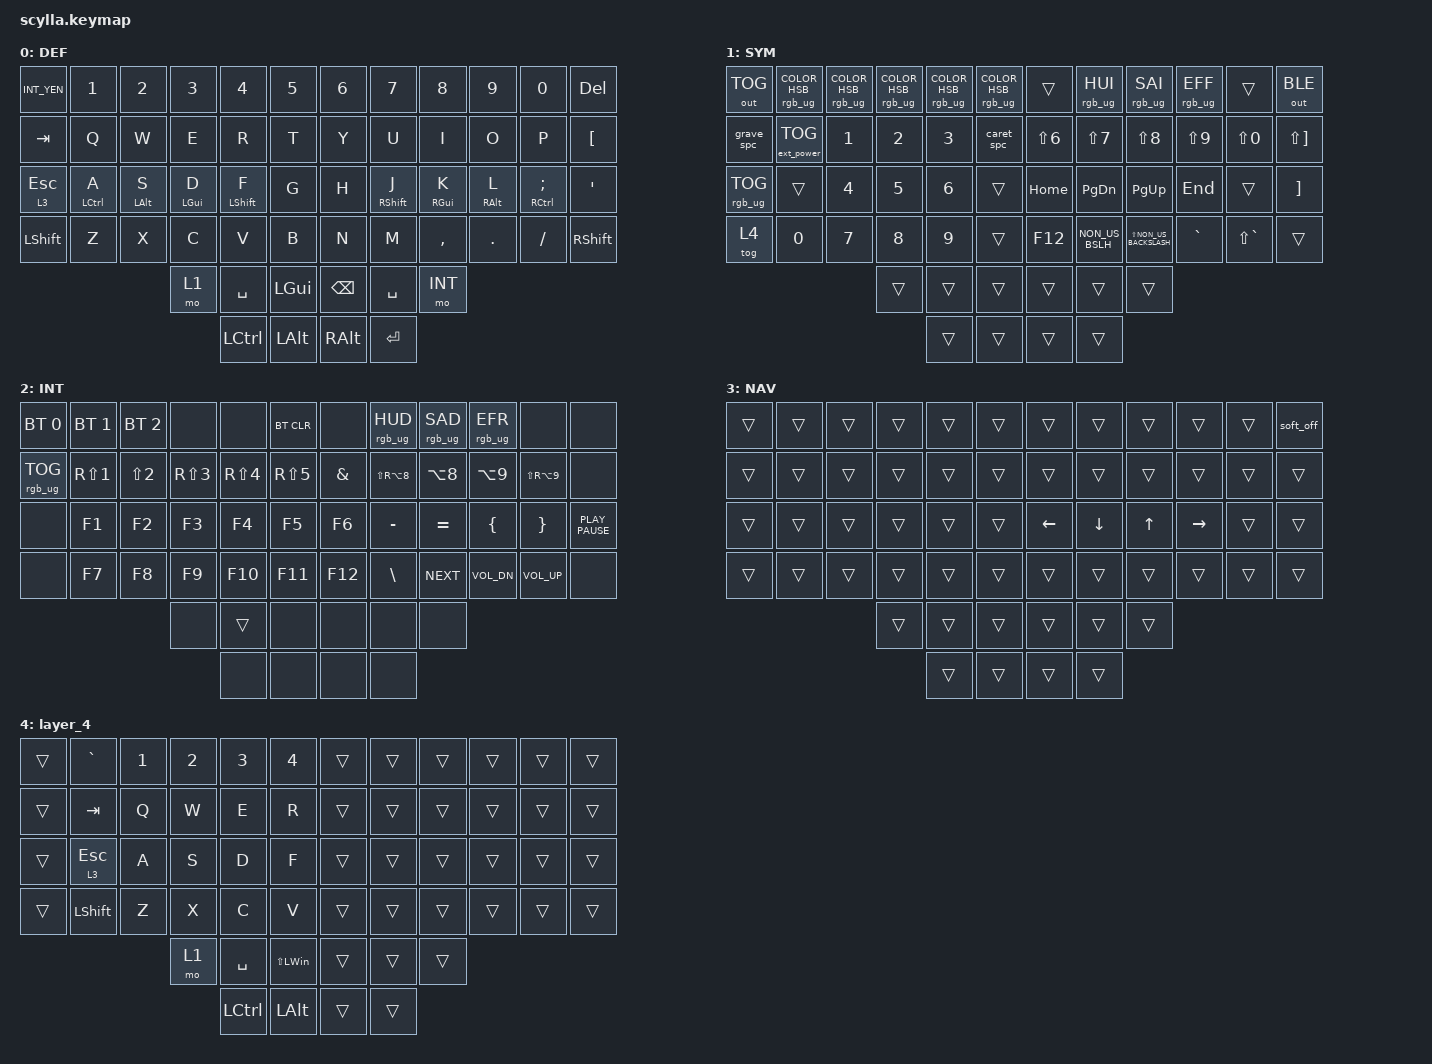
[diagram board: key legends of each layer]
#include <behaviors.dtsi>
#include <dt-bindings/zmk/bt.h>
#include <dt-bindings/zmk/ext_power.h>
#include <dt-bindings/zmk/keys.h>
#include <dt-bindings/zmk/outputs.h>
#include <dt-bindings/zmk/rgb.h>

#define DEF 0
#define SYM 1
#define INT 2

&led_strip {
    chain-length = <29>;

    // chain-length = <35>; // Uncomment if using both per-key and underglow LEDs
    // chain-length = <29>; // Uncomment if using only per-key LEDs.
};

&mt {
    tapping-term-ms = <350>;
    flavor = "tap-preferred";
    require-prior-idle-ms = <100>;
    hold-trigger-on-release;
};

/ {
    macros {
        sqt_spc: sqt_spc {
            label = "ZM_sqt_spc";
            compatible = "zmk,behavior-macro";
            #binding-cells = <0>;
            tap-ms = <30>;
            bindings = <&kp SQT &kp SPACE>;
        };

        grave_spc: grave_spc {
            label = "ZM_grave_spc";
            compatible = "zmk,behavior-macro";
            #binding-cells = <0>;
            tap-ms = <30>;
            bindings = <&kp GRAVE &kp SPACE>;
        };

        tilde_spc: tilde_spc {
            label = "ZM_tilde_spc";
            compatible = "zmk,behavior-macro";
            #binding-cells = <0>;
            tap-ms = <30>;
            bindings = <&kp TILDE &kp SPACE>;
        };

        caret_spc: caret_spc {
            label = "ZM_tilde_spc";
            compatible = "zmk,behavior-macro";
            #binding-cells = <0>;
            tap-ms = <30>;
            bindings = <&kp CARET &kp SPACE>;
        };
    };
};

/ {
    keymap {
        compatible = "zmk,keymap";

        DEF {
            bindings = <
&kp INT_YEN  &kp N1              &kp N2          &kp N3          &kp N4            &kp N5          &kp N6         &kp N7             &kp N8           &kp N9           &kp N0          &kp DEL
&kp TAB      &kp Q               &kp W           &kp E           &kp R             &kp T           &kp Y          &kp U              &kp I            &kp O            &kp P           &kp LBKT
&lt 3 ESC    &mt LEFT_CONTROL A  &mt LEFT_ALT S  &mt LEFT_GUI D  &mt LEFT_SHIFT F  &kp G           &kp H          &mt RIGHT_SHIFT J  &mt RIGHT_GUI K  &mt RIGHT_ALT L  &mt RCTRL SEMI  &kp SQT
&kp LSHIFT   &kp Z               &kp X           &kp C           &kp V             &kp B           &kp N          &kp M              &kp COMMA        &kp DOT          &kp SLASH       &kp RSHFT
                                                 &mo 1           &kp SPACE         &kp LEFT_GUI    &kp BACKSPACE  &kp SPACE          &mo INT
                                                                 &kp LCTRL         &kp LALT        &kp RALT       &kp RETURN
            >;
        };

        SYM {
            bindings = <
&out OUT_TOG     &rgb_ug RGB_COLOR_HSB(0,63,42)  &rgb_ug RGB_COLOR_HSB(54,54,43)  &rgb_ug RGB_COLOR_HSB(111,55,42)  &rgb_ug RGB_COLOR_HSB(230,56,49)  &rgb_ug RGB_COLOR_HSB(297,56,47)    &trans      &rgb_ug RGB_HUI  &rgb_ug RGB_SAI           &rgb_ug RGB_EFF  &trans         &out OUT_BLE
&grave_spc       &ext_power EP_TOG               &kp N1                           &kp N2                            &kp N3                            &caret_spc                          &kp LS(N6)  &kp LS(N7)       &kp LS(N8)                &kp LS(N9)       &kp LS(N0)     &kp LS(RBKT)
&rgb_ug RGB_TOG  &trans                          &kp N4                           &kp N5                            &kp N6                            &trans                              &kp HOME    &kp PAGE_DOWN    &kp PAGE_UP               &kp END          &trans         &kp RBKT
&tog 4           &kp N0                          &kp N7                           &kp N8                            &kp N9                            &trans                              &kp F12     &kp NON_US_BSLH  &kp LS(NON_US_BACKSLASH)  &kp GRAVE        &kp LS(GRAVE)  &trans
                                                                                  &trans                            &trans                            &trans                              &trans      &trans           &trans
                                                                                                                    &trans                            &trans                              &trans      &trans
            >;
        };

        INT {
            bindings = <
&bt BT_SEL 0     &bt BT_SEL 1  &bt BT_SEL 2  &none       &none       &bt BT_CLR    &none     &rgb_ug RGB_HUD  &rgb_ug RGB_SAD  &rgb_ug RGB_EFR  &none            &none
&rgb_ug RGB_TOG  &kp RS(N1)    &kp LS(N2)    &kp RS(N3)  &kp RS(N4)  &kp RS(N5)    &kp AMPS  &kp LS(RA(N8))   &kp LA(N8)       &kp LA(N9)       &kp LS(RA(N9))   &none
&none            &kp F1        &kp F2        &kp F3      &kp F4      &kp F5        &kp F6    &kp MINUS        &kp EQUAL        &kp LEFT_BRACE   &kp RIGHT_BRACE  &kp K_PLAY_PAUSE
&none            &kp F7        &kp F8        &kp F9      &kp F10     &kp F11       &kp F12   &kp BSLH         &kp C_NEXT       &kp C_VOL_DN     &kp C_VOL_UP     &none
                                             &none       &trans      &none         &none     &none            &none
                                                         &none       &none         &none     &none
            >;
        };

        NAV {
            bindings = <
&trans  &trans  &trans  &trans  &trans  &trans    &trans    &trans    &trans        &trans     &trans  &soft_off
&trans  &trans  &trans  &trans  &trans  &trans    &trans    &trans    &trans        &trans     &trans  &trans
&trans  &trans  &trans  &trans  &trans  &trans    &kp LEFT  &kp DOWN  &kp UP_ARROW  &kp RIGHT  &trans  &trans
&trans  &trans  &trans  &trans  &trans  &trans    &trans    &trans    &trans        &trans     &trans  &trans
                        &trans  &trans  &trans    &trans    &trans    &trans
                                &trans  &trans    &trans    &trans
            >;
        };

        layer_4 {
            bindings = <
&trans  &kp GRAVE   &kp NUMBER_1  &kp NUMBER_2  &kp NUMBER_3  &kp NUMBER_4        &trans  &trans  &trans  &trans  &trans  &trans
&trans  &kp TAB     &kp Q         &kp W         &kp E         &kp R               &trans  &trans  &trans  &trans  &trans  &trans
&trans  &lt 3 ESC   &kp A         &kp S         &kp D         &kp F               &trans  &trans  &trans  &trans  &trans  &trans
&trans  &kp LSHIFT  &kp Z         &kp X         &kp C         &kp V               &trans  &trans  &trans  &trans  &trans  &trans
                                  &mo 1         &kp SPACE     &kp LS(LEFT_WIN)    &trans  &trans  &trans
                                                &kp LCTRL     &kp LEFT_ALT        &trans  &trans
            >;
        };
    };
};
